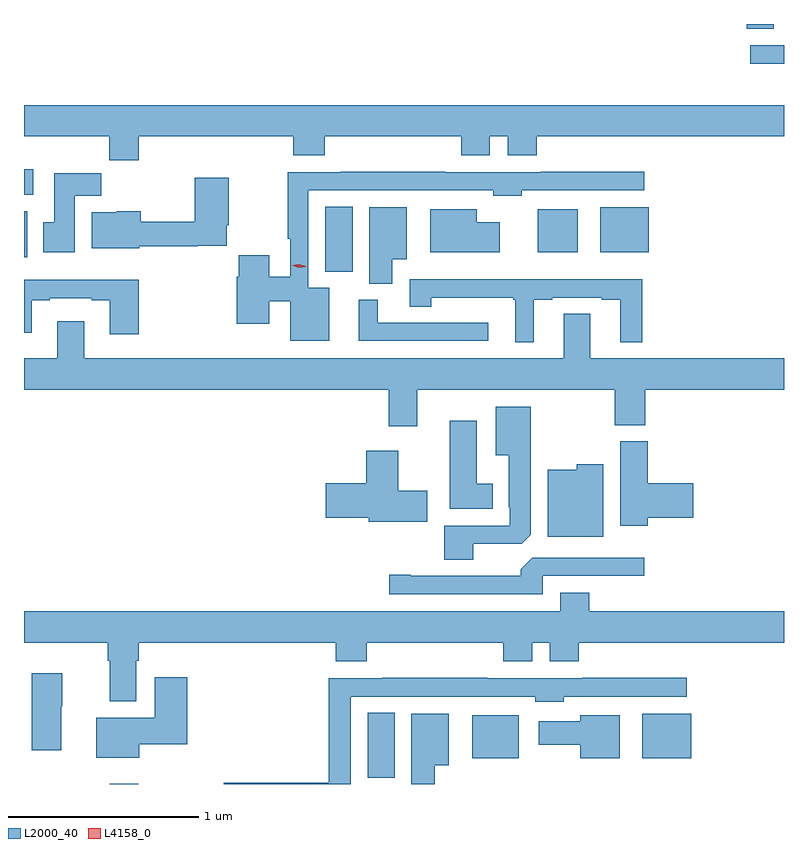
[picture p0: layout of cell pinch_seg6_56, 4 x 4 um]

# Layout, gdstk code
import gdstk
lib = gdstk.Library(unit=1e-6, precision=1e-09)
def R(c, l, rs):  # rectangles x0, y0, x1, y1
    for r in rs: c.add(gdstk.rectangle(r[:2], r[2:], *l))
def P(c, l, *ps):  # polygons
    for p in ps: c.add(gdstk.Polygon(p, *l))
L2000_40 = (2000, 40)
L4158_0 = (4158, 0)

pinch_seg6_56 = lib.new_cell('pinch_seg6_56')
R(pinch_seg6_56, L2000_40, [(952.097,949.256,952.245,949.258), (953.453,949.289,953.596,949.631), (954.005,949.391,954.25,949.618), (954.899,949.391,955.156,949.627), (953.231,951.953,953.374,952.295), (951.645,952.028,951.661,952.27), (954.35,952.055,954.559,952.282), (954.677,952.055,954.934,952.291), (951.645,952.358,951.694,952.492), (955.467,953.047,955.645,953.145), (955.448,953.23,955.591,953.256)])
P(pinch_seg6_56, L2000_40, [(952.25,952.664),(953.063,952.664),(953.063,952.565),(953.228,952.565),(953.228,952.664),(953.945,952.664),(953.945,952.565),(954.097,952.565),(954.097,952.664),(954.191,952.664),(954.191,952.565),(954.344,952.565),(954.344,952.664),(955.645,952.664),(955.645,952.828),(951.645,952.828),(951.645,952.664),(952.093,952.664),(952.093,952.54),(952.25,952.54)],
  [(953.251,951.868),(953.142,951.868),(953.142,952.38),(954.114,952.38),(954.114,952.352),(954.264,952.352),(954.264,952.38),(954.91,952.38),(954.91,952.478),(954.364,952.478),(954.364,952.476),(953.861,952.476),(953.861,952.478),(953.311,952.478),(953.311,952.476),(953.034,952.476),(953.034,952.126),(953.046,952.126),(953.046,951.926),(952.936,951.926),(952.936,952.039),(952.776,952.039),(952.776,951.926),(952.766,951.926),(952.766,951.678),(952.936,951.678),(952.936,951.798),(953.045,951.798),(953.045,951.59),(953.251,951.59)],
  [(951.913,952.352),(952.052,952.352),(952.052,952.471),(951.803,952.471),(951.803,952.212),(951.746,952.212),(951.746,952.056),(951.913,952.056)],
  [(952.252,952.087),(952.56,952.087),(952.56,952.09),(952.713,952.09),(952.713,952.198),(952.722,952.198),(952.722,952.447),(952.544,952.447),(952.544,952.216),(952.26,952.216),(952.26,952.27),(952.134,952.27),(952.134,952.264),(952.001,952.264),(952.001,952.076),(952.252,952.076)],
  [(953.584,952.019),(953.659,952.019),(953.659,952.291),(953.462,952.291),(953.462,951.889),(953.584,951.889)],
  [(954.148,952.213),(954.028,952.213),(954.028,952.282),(953.783,952.282),(953.783,952.055),(954.148,952.055)],
  [(954.328,951.804),(954.424,951.804),(954.424,951.816),(954.686,951.816),(954.686,951.804),(954.782,951.804),(954.782,951.581),(954.899,951.581),(954.899,951.913),(953.676,951.913),(953.676,951.769),(953.789,951.769),(953.789,951.815),(954.219,951.815),(954.219,951.804),(954.23,951.804),(954.23,951.581),(954.328,951.581)],
  [(952.25,951.91),(951.645,951.91),(951.645,951.632),(951.685,951.632),(951.685,951.801),(951.781,951.801),(951.781,951.813),(952.001,951.813),(952.001,951.801),(952.097,951.801),(952.097,951.624),(952.25,951.624)],
  [(954.088,951.684),(953.506,951.684),(953.506,951.804),(953.408,951.804),(953.408,951.588),(954.088,951.588)],
  [(953.716,951.332),(954.754,951.332),(954.754,951.145),(954.914,951.145),(954.914,951.332),(955.645,951.332),(955.645,951.496),(954.625,951.496),(954.625,951.731),(954.485,951.731),(954.485,951.496),(951.961,951.496),(951.961,951.691),(951.821,951.691),(951.821,951.496),(951.645,951.496),(951.645,951.332),(953.564,951.332),(953.564,951.138),(953.716,951.138)],
  [(954.01,950.52),(954.264,950.52),(954.313,950.569),(954.313,951.241),(954.128,951.241),(954.128,950.987),(954.197,950.987),(954.197,950.713),(954.201,950.713),(954.201,950.616),(953.858,950.616),(953.858,950.437),(954.01,950.437)],
  [(954.112,950.836),(954.028,950.836),(954.028,951.169),(953.885,951.169),(953.885,950.705),(954.112,950.705)],
  [(954.929,950.657),(955.168,950.657),(955.168,950.84),(954.929,950.84),(954.929,951.06),(954.782,951.06),(954.782,950.616),(954.929,950.616)],
  [(953.767,950.799),(953.614,950.799),(953.614,951.01),(953.447,951.01),(953.447,950.84),(953.232,950.84),(953.232,950.657),(953.459,950.657),(953.459,950.636),(953.767,950.636)],
  [(954.694,950.938),(954.555,950.938),(954.555,950.911),(954.401,950.911),(954.401,950.558),(954.694,950.558)],
  [(954.375,950.352),(954.91,950.352),(954.91,950.448),(954.321,950.448),(954.26,950.386),(954.26,950.352),(953.68,950.352),(953.68,950.357),(953.568,950.357),(953.568,950.256),(954.375,950.256)],
  [(952.237,949.904),(952.25,949.904),(952.25,950),(953.285,950),(953.285,949.901),(953.45,949.901),(953.45,950),(954.167,950),(954.167,949.901),(954.319,949.901),(954.319,950),(954.413,950),(954.413,949.901),(954.566,949.901),(954.566,950),(955.645,950),(955.645,950.164),(954.62,950.164),(954.62,950.263),(954.467,950.263),(954.467,950.164),(951.645,950.164),(951.645,950),(952.085,950),(952.085,949.904),(952.097,949.904),(952.097,949.691),(952.237,949.691)],
  [(951.841,949.665),(951.847,949.665),(951.847,949.84),(951.686,949.84),(951.686,949.434),(951.841,949.434)],
  [(952.252,949.466),(952.505,949.466),(952.505,949.819),(952.334,949.819),(952.334,949.606),(952.025,949.606),(952.025,949.394),(952.252,949.394)],
  [(953.364,949.716),(954.336,949.716),(954.336,949.688),(954.486,949.688),(954.486,949.716),(955.132,949.716),(955.132,949.814),(954.586,949.814),(954.586,949.812),(954.083,949.812),(954.083,949.814),(953.533,949.814),(953.533,949.812),(953.248,949.812),(953.248,949.262),(952.697,949.262),(952.697,949.256),(953.364,949.256)],
  [(953.806,949.355),(953.881,949.355),(953.881,949.627),(953.684,949.627),(953.684,949.256),(953.806,949.256)],
  [(954.781,949.618),(954.572,949.618),(954.572,949.585),(954.354,949.585),(954.354,949.463),(954.572,949.463),(954.572,949.391),(954.781,949.391)])
P(pinch_seg6_56, L4158_0, [(953.092,951.972),(953.057,951.985),(953.057,951.985),(953.057,951.985),(953.094,951.992),(953.128,951.98),(953.129,951.979),(953.128,951.979)])

lib.write_gds('pinch_seg6_56.gds')
